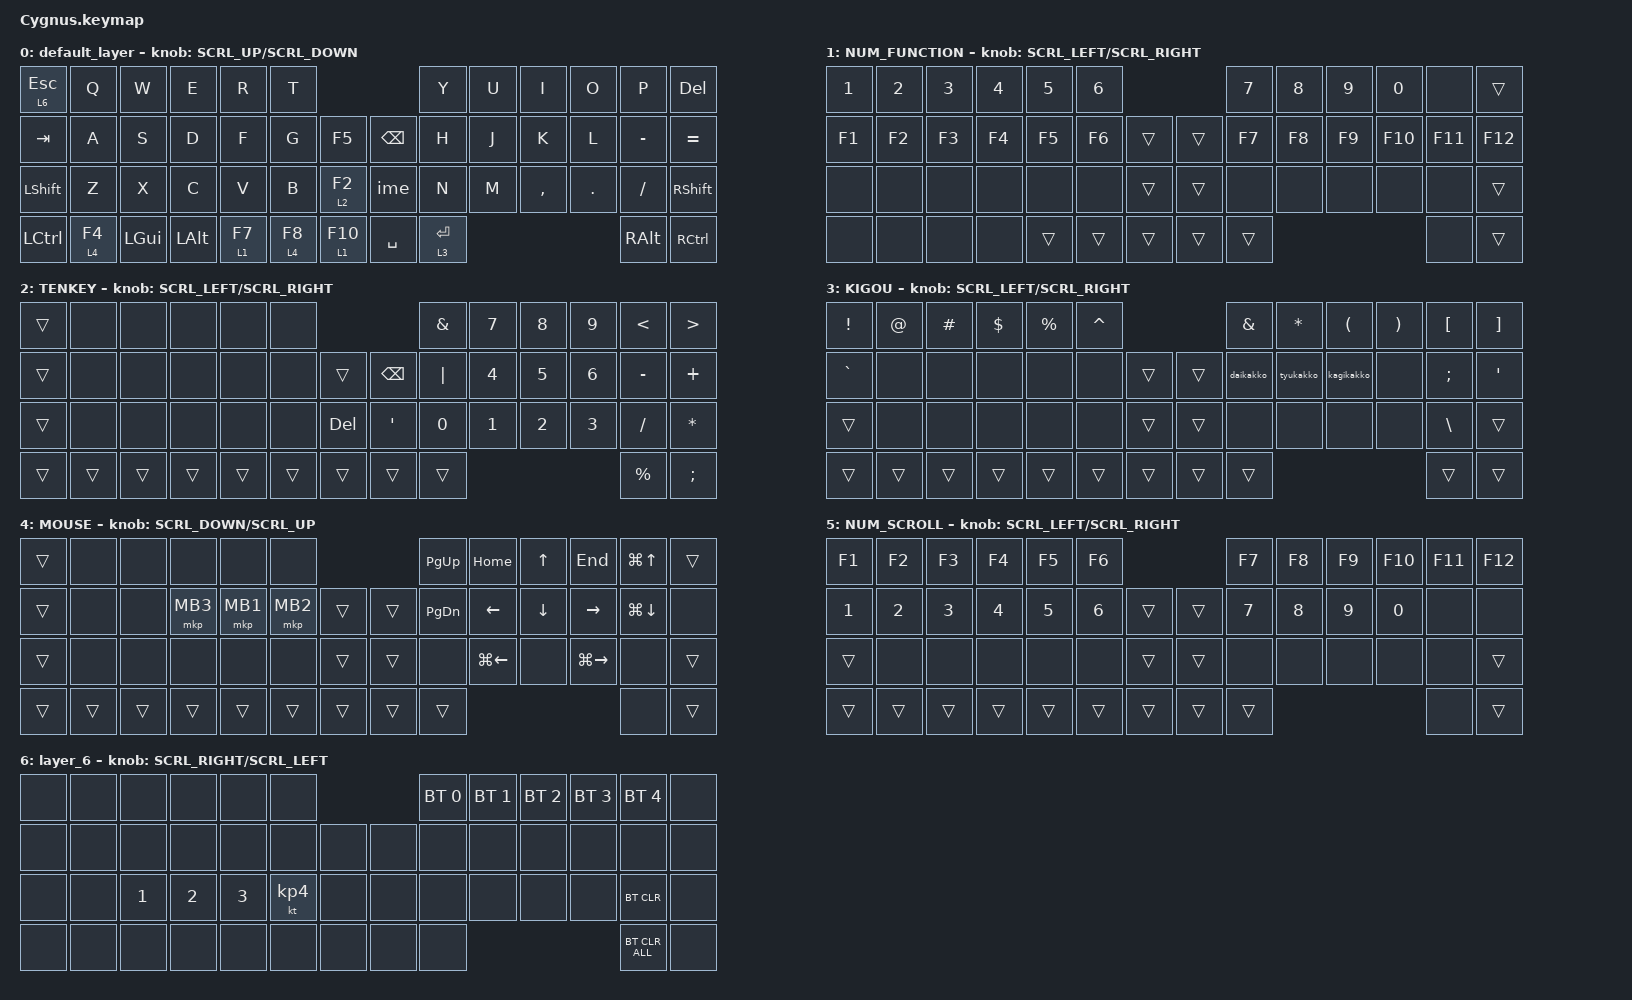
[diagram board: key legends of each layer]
#define ZMK_POINTING_DEFAULT_SCRL_VAL 120    // default: 10

#include <input/processors.dtsi>
#include <behaviors.dtsi>
#include <dt-bindings/zmk/bt.h>
#include <dt-bindings/zmk/keys.h>
#include <dt-bindings/zmk/pointing.h>

#define MOUSE 4
#define SCROLL 5
#define NUM 6

&mt {
    flavor = "balanced";
    quick-tap-ms = <0>;
};

&tog {
};

/ {
    combos {
        compatible = "zmk,combos";

        double_quotation {
            bindings = <&kp DOUBLE_QUOTES>;
            key-positions = <20 21>;
        };
    };

    macros {
        to_layer_2: to_layer_0 {
            compatible = "zmk,behavior-macro-one-param";
            #binding-cells = <1>;
            bindings = <&to 3 &macro_param_1to1 &kp MACRO_PLACEHOLDER>;
            label = "TO_LAYER_0";
        };

        ime: ime {
            compatible = "zmk,behavior-macro";
            #binding-cells = <0>;
            bindings =
                <&macro_press>,
                <&kp LEFT_GUI>,
                <&macro_tap>,
                <&kp SPACE>,
                <&macro_release>,
                <&kp LEFT_GUI>,
                <&macro_wait_time 5>,
                <&macro_tap>,
                <&kp INT2>;

            label = "IME";
        };

        daikakko: daikakko {
            compatible = "zmk,behavior-macro";
            #binding-cells = <0>;
            bindings =
                <&kp LEFT_PARENTHESIS>,
                <&macro_wait_time 5>,
                <&kp RIGHT_PARENTHESIS>;

            label = "DAIKAKKO";
        };

        tyukakko: tyukakko {
            compatible = "zmk,behavior-macro";
            #binding-cells = <0>;
            bindings =
                <&kp LEFT_BRACKET>,
                <&macro_wait_time 5>,
                <&kp RIGHT_BRACKET>;

            label = "TYUKAKKO";
        };

        kagikakko: kagikakko {
            compatible = "zmk,behavior-macro";
            #binding-cells = <0>;
            bindings =
                <&kp RIGHT_BRACKET>,
                <&macro_wait_time 5>,
                <&kp BACKSLASH>;

            label = "KAGIKAKKO";
        };
    };

    behaviors {
        lt_to_layer_0: lt_to_layer_0 {
            compatible = "zmk,behavior-hold-tap";
            label = "LAYER_TAP_TO_0";
            bindings = <&mo>, <&to_layer_2>;

            #binding-cells = <2>;
            tapping-term-ms = <200>;
        };

        ROTATE: ROTATE {
            compatible = "zmk,behavior-sensor-rotate-var";
            label = "ROTATE";
            #sensor-binding-cells = <2>;
            bindings = <&msc>, <&msc>;

            tap-ms = <20>;
        };
    };

    keymap {
        compatible = "zmk,keymap";

        default_layer {
            bindings = <
&lt 6 ESC       &kp Q     &kp W         &kp E         &kp R     &kp T                                 &kp Y        &kp U  &kp I      &kp O    &kp P          &kp DELETE
&kp TAB         &kp A     &kp S         &kp D         &kp F     &kp G     &kp F5       &kp BACKSPACE  &kp H        &kp J  &kp K      &kp L    &kp MINUS      &kp EQUAL
&kp LEFT_SHIFT  &kp Z     &kp X         &kp C         &kp V     &kp B     &lt 2 F2     &ime           &kp N        &kp M  &kp COMMA  &kp DOT  &kp SLASH      &kp RSHFT
&kp LCTRL       &lt 4 F4  &kp LEFT_GUI  &kp LEFT_ALT  &lt 1 F7  &lt 4 F8  &lt 1 F10    &kp SPACE      &lt 3 ENTER                             &kp RIGHT_ALT  &kp RCTRL
            >;

            sensor-bindings = <&ROTATE SCRL_UP SCRL_DOWN>;
        };

        NUM_FUNCTION {
            bindings = <
&kp NUMBER_1  &kp NUMBER_2  &kp NUMBER_3  &kp NUMBER_4  &kp NUMBER_5  &kp NUMBER_6                    &kp NUMBER_7  &kp NUMBER_8  &kp NUMBER_9  &kp NUMBER_0  &none    &trans
&kp F1        &kp F2        &kp F3        &kp F4        &kp F5        &kp F6        &trans    &trans  &kp F7        &kp F8        &kp F9        &kp F10       &kp F11  &kp F12
&none         &none         &none         &none         &none         &none         &trans    &trans  &none         &none         &none         &none         &none    &trans
&none         &none         &none         &none         &trans        &trans        &trans    &trans  &trans                                                  &none    &trans
            >;

            sensor-bindings = <&ROTATE SCRL_LEFT SCRL_RIGHT>;
        };

        TENKEY {
            bindings = <
&trans  &none   &none   &none   &none   &none                             &kp AMPERSAND  &kp NUMBER_7  &kp NUMBER_8  &kp NUMBER_9  &kp LESS_THAN  &kp GREATER_THAN
&trans  &none   &none   &none   &none   &none   &trans     &kp BACKSPACE  &kp PIPE       &kp NUMBER_4  &kp NUMBER_5  &kp NUMBER_6  &kp MINUS      &kp PLUS
&trans  &none   &none   &none   &none   &none   &kp DEL    &kp SQT        &kp NUMBER_0   &kp NUMBER_1  &kp NUMBER_2  &kp NUMBER_3  &kp SLASH      &kp ASTERISK
&trans  &trans  &trans  &trans  &trans  &trans  &trans     &trans         &trans                                                   &kp PERCENT    &kp SEMICOLON
            >;

            sensor-bindings = <&ROTATE SCRL_LEFT SCRL_RIGHT>;
        };

        KIGOU {
            bindings = <
&kp EXCLAMATION  &kp AT_SIGN  &kp HASH  &kp DOLLAR  &kp PERCENT  &kp CARET                    &kp AMPERSAND  &kp ASTERISK  &kp LEFT_PARENTHESIS  &kp RIGHT_PARENTHESIS  &kp LEFT_BRACKET  &kp RIGHT_BRACKET
&kp GRAVE        &none        &none     &none       &none        &none      &trans    &trans  &daikakko      &tyukakko     &kagikakko            &none                  &kp SEMICOLON     &kp SQT
&trans           &none        &none     &none       &none        &none      &trans    &trans  &none          &none         &none                 &none                  &kp BACKSLASH     &trans
&trans           &trans       &trans    &trans      &trans       &trans     &trans    &trans  &trans                                                                    &trans            &trans
            >;

            sensor-bindings = <&ROTATE SCRL_LEFT SCRL_RIGHT>;
        };

        MOUSE {
            bindings = <
&trans  &none   &none   &none     &none     &none                       &kp PAGE_UP    &kp HOME            &kp UP_ARROW    &kp END              &kp LG(UP_ARROW)    &trans
&trans  &none   &none   &mkp MB3  &mkp MB1  &mkp MB2  &trans    &trans  &kp PAGE_DOWN  &kp LEFT_ARROW      &kp DOWN_ARROW  &kp RIGHT_ARROW      &kp LG(DOWN_ARROW)  &none
&trans  &none   &none   &none     &none     &none     &trans    &trans  &none          &kp LG(LEFT_ARROW)  &none           &kp LG(RIGHT_ARROW)  &none               &trans
&trans  &trans  &trans  &trans    &trans    &trans    &trans    &trans  &trans                                                                  &none               &trans
            >;

            sensor-bindings = <&ROTATE SCRL_DOWN SCRL_UP>;
        };

        NUM_SCROLL {
            bindings = <
&kp F1        &kp F2        &kp F3        &kp F4        &kp F5        &kp F6                          &kp F7        &kp F8        &kp F9        &kp F10       &kp F11  &kp F12
&kp NUMBER_1  &kp NUMBER_2  &kp NUMBER_3  &kp NUMBER_4  &kp NUMBER_5  &kp NUMBER_6  &trans    &trans  &kp NUMBER_7  &kp NUMBER_8  &kp NUMBER_9  &kp NUMBER_0  &none    &none
&trans        &none         &none         &none         &none         &none         &trans    &trans  &none         &none         &none         &none         &none    &trans
&trans        &trans        &trans        &trans        &trans        &trans        &trans    &trans  &trans                                                  &none    &trans
            >;

            sensor-bindings = <&ROTATE SCRL_LEFT SCRL_RIGHT>;
        };

        layer_6 {
            bindings = <
&none  &none  &none         &none         &none         &none                      &bt BT_SEL 0  &bt BT_SEL 1  &bt BT_SEL 2  &bt BT_SEL 3  &bt BT_SEL 4    &none
&none  &none  &none         &none         &none         &none      &none    &none  &none         &none         &none         &none         &none           &none
&none  &none  &kp NUMBER_1  &kp NUMBER_2  &kp NUMBER_3  &kt KP_N4  &none    &none  &none         &none         &none         &none         &bt BT_CLR      &none
&none  &none  &none         &none         &none         &none      &none    &none  &none                                                   &bt BT_CLR_ALL  &none
            >;

            sensor-bindings = <&ROTATE SCRL_RIGHT SCRL_LEFT>;
        };
    };
};
